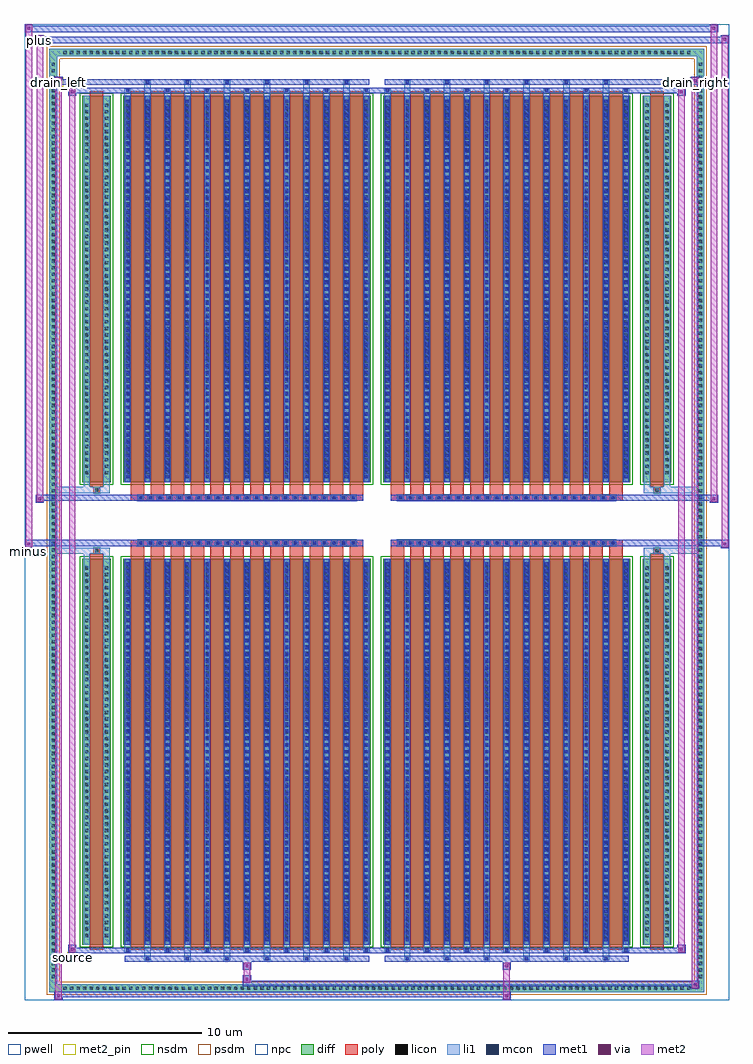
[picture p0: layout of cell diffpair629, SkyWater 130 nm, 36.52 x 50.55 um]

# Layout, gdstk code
import gdstk
lib = gdstk.Library(unit=1e-6, precision=5e-09)
def R(c, l, rs):  # rectangles x0, y0, x1, y1
    for r in rs: c.add(gdstk.rectangle(r[:2], r[2:], *l))
def A(c, l, x, y, w, h, nx, ny, dx, dy):  # array of equal rectangles
    R(c, l, [(x+i*dx, y+j*dy, x+i*dx+w, y+j*dy+h) for i in range(nx) for j in range(ny)])
def P(c, l, *ps):  # polygons
    for p in ps: c.add(gdstk.Polygon(p, *l))
pwell = (64, 44)
diff = (65, 20)
poly = (66, 20)
licon = (66, 44)
li1 = (67, 20)
mcon = (67, 44)
met1 = (68, 20)
via = (68, 44)
met2_pin = (69, 16)
met2 = (69, 20)
nsdm = (93, 44)
psdm = (94, 20)
npc = (95, 20)

diffpair629 = lib.new_cell('diffpair629')
R(diffpair629, pwell, [(-18.24,-24.84,18.24,25.71), (-15.56,-23.03,-0.01,-0.805), (0.01,-23.03,15.56,-0.805), (-15.56,0.805,-0.01,23.03), (0.01,0.805,15.56,23.03)])
A(diffpair629, diff, -16.355, -24.44, 0.41, 0.41, 96, 2, 0.34, 48.47)
A(diffpair629, diff, -16.97, -23.835, 0.41, 0.41, 1, 140, 0, 0.34)
A(diffpair629, diff, 16.56, -23.835, 0.41, 0.41, 1, 140, 0, 0.34)
R(diffpair629, diff, [(-16.355,-24.44,16.355,-24.03), (-16.97,-23.835,-16.56,23.835), (16.56,-23.835,16.97,23.835), (-15.25,-21.985,-13.77,-1.985), (-13.13,-21.985,-0.32,-1.985), (0.32,-21.985,13.13,-1.985), (13.77,-21.985,15.25,-1.985), (-15.25,1.985,-13.77,21.985), (-13.13,1.985,-0.32,21.985), (0.32,1.985,13.13,21.985), (13.77,1.985,15.25,21.985), (-16.355,24.03,16.355,24.44)])
P(diffpair629, diff, [(16.97,24.44),(-16.97,24.44),(-16.97,-24.03),(-16.56,-24.03),(-16.56,24.03),(16.56,24.03),(16.56,-24.03),(-16.56,-24.03),(-16.97,-24.03),(-16.97,-24.44),(16.97,-24.44)])
A(diffpair629, poly, -12.74, -22.235, 0.7, 20.5, 12, 2, 1.03, 23.97)
A(diffpair629, poly, 0.71, -22.235, 0.7, 20.5, 12, 2, 1.03, 23.97)
A(diffpair629, poly, -12.74, -1.735, 0.7, 0.4, 12, 2, 1.03, 3.07)
A(diffpair629, poly, 0.71, -1.735, 0.7, 0.4, 12, 2, 1.03, 3.07)
A(diffpair629, poly, -12.39, -1.335, 0.33, 0.33, 23, 2, 0.5, 2.34)
A(diffpair629, poly, 1.06, -1.335, 0.33, 0.33, 23, 2, 0.5, 2.34)
R(diffpair629, poly, [(-14.86,-22.235,-14.16,-1.735), (14.16,-22.235,14.86,-1.735), (-14.675,-1.735,-14.345,-1.405), (-14.675,-1.735,-14.345,-1.405), (14.345,-1.735,14.675,-1.405), (14.345,-1.735,14.675,-1.405), (-12.74,-1.335,-0.71,-1.005), (0.71,-1.335,12.74,-1.005), (-12.74,1.005,-0.71,1.335), (0.71,1.005,12.74,1.335), (-14.675,1.405,-14.345,1.735), (-14.675,1.405,-14.345,1.735), (14.345,1.405,14.675,1.735), (14.345,1.405,14.675,1.735), (-14.86,1.735,-14.16,22.235), (14.16,1.735,14.86,22.235)])
A(diffpair629, licon, -16.235, -24.32, 0.17, 0.17, 96, 2, 0.34, 48.47)
A(diffpair629, licon, -16.85, -23.715, 0.17, 0.17, 1, 140, 0, 0.34)
A(diffpair629, licon, 16.68, -23.715, 0.17, 0.17, 1, 140, 0, 0.34)
A(diffpair629, licon, -15.11, -21.59, 0.17, 0.17, 1, 57, 0, 0.34)
A(diffpair629, licon, -14.08, -21.59, 0.17, 0.17, 1, 57, 0, 0.34)
A(diffpair629, licon, -12.99, -21.59, 0.17, 0.17, 13, 57, 1.03, 0.34)
A(diffpair629, licon, 0.46, -21.59, 0.17, 0.17, 13, 57, 1.03, 0.34)
A(diffpair629, licon, 13.91, -21.59, 0.17, 0.17, 1, 57, 0, 0.34)
A(diffpair629, licon, 14.94, -21.59, 0.17, 0.17, 1, 57, 0, 0.34)
A(diffpair629, licon, -12.31, -1.255, 0.17, 0.17, 23, 2, 0.5, 2.34)
A(diffpair629, licon, 1.14, -1.255, 0.17, 0.17, 23, 2, 0.5, 2.34)
A(diffpair629, licon, -15.11, 2.38, 0.17, 0.17, 1, 57, 0, 0.34)
A(diffpair629, licon, -14.08, 2.38, 0.17, 0.17, 1, 57, 0, 0.34)
A(diffpair629, licon, -12.99, 2.38, 0.17, 0.17, 13, 57, 1.03, 0.34)
A(diffpair629, licon, 0.46, 2.38, 0.17, 0.17, 13, 57, 1.03, 0.34)
A(diffpair629, licon, 13.91, 2.38, 0.17, 0.17, 1, 57, 0, 0.34)
A(diffpair629, licon, 14.94, 2.38, 0.17, 0.17, 1, 57, 0, 0.34)
R(diffpair629, licon, [(-14.595,-1.655,-14.425,-1.485), (14.425,-1.655,14.595,-1.485), (-14.595,1.485,-14.425,1.655), (14.425,1.485,14.595,1.655)])
A(diffpair629, li1, -16.315, -24.4, 0.33, 0.33, 96, 2, 0.34, 48.47)
A(diffpair629, li1, -16.93, -23.795, 0.33, 0.33, 1, 140, 0, 0.34)
A(diffpair629, li1, 16.6, -23.795, 0.33, 0.33, 1, 140, 0, 0.34)
A(diffpair629, li1, -12.04, -22.79, 0.33, 0.805, 6, 2, 2.06, 44.775)
A(diffpair629, li1, -11.96, -22.79, 0.17, 0.17, 6, 2, 2.06, 45.41)
A(diffpair629, li1, 1.41, -22.79, 0.33, 0.805, 6, 2, 2.06, 44.775)
A(diffpair629, li1, 1.49, -22.79, 0.17, 0.17, 6, 2, 2.06, 45.41)
A(diffpair629, li1, -13.07, -22.36, 0.33, 0.375, 7, 2, 2.06, 44.345)
A(diffpair629, li1, -12.99, -22.36, 0.17, 0.17, 7, 2, 2.06, 44.55)
A(diffpair629, li1, 0.38, -22.36, 0.33, 0.375, 7, 2, 2.06, 44.345)
A(diffpair629, li1, 0.46, -22.36, 0.17, 0.17, 7, 2, 2.06, 44.55)
A(diffpair629, li1, -13.07, -21.985, 0.33, 20, 13, 2, 1.03, 23.97)
A(diffpair629, li1, 0.38, -21.985, 0.33, 20, 13, 2, 1.03, 23.97)
A(diffpair629, li1, -12.99, -21.79, 0.17, 0.17, 13, 55, 1.03, 0.36)
A(diffpair629, li1, -12.99, -21.79, 0.17, 19.61, 13, 2, 1.03, 23.97)
A(diffpair629, li1, 0.46, -21.79, 0.17, 0.17, 13, 55, 1.03, 0.36)
A(diffpair629, li1, 0.46, -21.79, 0.17, 19.61, 13, 2, 1.03, 23.97)
A(diffpair629, li1, -15.19, -21.67, 0.33, 0.33, 1, 57, 0, 0.34)
A(diffpair629, li1, -14.16, -21.67, 0.33, 0.33, 1, 57, 0, 0.34)
A(diffpair629, li1, -13.07, -21.67, 0.33, 0.33, 13, 57, 1.03, 0.34)
A(diffpair629, li1, 0.38, -21.67, 0.33, 0.33, 13, 57, 1.03, 0.34)
A(diffpair629, li1, 13.83, -21.67, 0.33, 0.33, 1, 57, 0, 0.34)
A(diffpair629, li1, 14.86, -21.67, 0.33, 0.33, 1, 57, 0, 0.34)
A(diffpair629, li1, -12.39, -1.335, 0.33, 0.33, 23, 2, 0.5, 2.34)
A(diffpair629, li1, 1.06, -1.335, 0.33, 0.33, 23, 2, 0.5, 2.34)
A(diffpair629, li1, -12.99, 2.18, 0.17, 0.17, 13, 55, 1.03, 0.36)
A(diffpair629, li1, 0.46, 2.18, 0.17, 0.17, 13, 55, 1.03, 0.36)
A(diffpair629, li1, -15.19, 2.3, 0.33, 0.33, 1, 57, 0, 0.34)
A(diffpair629, li1, -14.16, 2.3, 0.33, 0.33, 1, 57, 0, 0.34)
A(diffpair629, li1, -13.07, 2.3, 0.33, 0.33, 13, 57, 1.03, 0.34)
A(diffpair629, li1, 0.38, 2.3, 0.33, 0.33, 13, 57, 1.03, 0.34)
A(diffpair629, li1, 13.83, 2.3, 0.33, 0.33, 1, 57, 0, 0.34)
A(diffpair629, li1, 14.86, 2.3, 0.33, 0.33, 1, 57, 0, 0.34)
R(diffpair629, li1, [(-16.97,-24.44,-16.56,-24.03), (-16.97,-24.44,-16.56,-24.03), (-16.56,-24.44,16.56,-24.03), (16.56,-24.44,16.97,-24.03), (16.56,-24.44,16.97,-24.03), (-16.97,-24.03,-16.56,24.03), (16.56,-24.03,16.97,24.03), (-15.19,-21.985,-14.86,-1.985), (-14.16,-21.985,-13.83,-1.985), (13.83,-21.985,14.16,-1.985), (14.86,-21.985,15.19,-1.985), (-15.19,-1.985,-14.86,-1.405), (-14.16,-1.985,-13.83,-1.405), (13.83,-1.985,14.16,-1.405), (14.86,-1.985,15.19,-1.405), (-16.97,-1.735,-14.675,-1.405), (-15.19,-1.735,-14.675,-1.405), (-14.675,-1.735,-14.345,-1.405), (-14.345,-1.735,-13.83,-1.405), (13.83,-1.735,14.345,-1.405), (14.345,-1.735,14.675,-1.405), (14.345,-1.735,16.97,-1.405), (14.675,-1.735,15.19,-1.405), (-16.97,1.405,-14.675,1.735), (-15.19,1.405,-14.675,1.735), (-15.19,1.405,-14.86,1.985), (-14.675,1.405,-14.345,1.735), (-14.345,1.405,-13.83,1.735), (-14.16,1.405,-13.83,1.985), (13.83,1.405,14.345,1.735), (13.83,1.405,14.16,1.985), (14.345,1.405,14.675,1.735), (14.345,1.405,16.97,1.735), (14.675,1.405,15.19,1.735), (14.86,1.405,15.19,1.985), (-15.19,1.985,-14.86,21.985), (-14.16,1.985,-13.83,21.985), (13.83,1.985,14.16,21.985), (14.86,1.985,15.19,21.985), (-16.97,24.03,-16.56,24.44), (-16.97,24.03,-16.56,24.44), (-16.56,24.03,16.56,24.44), (16.56,24.03,16.97,24.44), (16.56,24.03,16.97,24.44)])
A(diffpair629, mcon, -11.96, -22.79, 0.17, 0.17, 6, 2, 2.06, 45.41)
A(diffpair629, mcon, 1.49, -22.79, 0.17, 0.17, 6, 2, 2.06, 45.41)
A(diffpair629, mcon, -12.99, -22.36, 0.17, 0.17, 7, 2, 2.06, 44.55)
A(diffpair629, mcon, 0.46, -22.36, 0.17, 0.17, 7, 2, 2.06, 44.55)
A(diffpair629, mcon, -12.99, -21.79, 0.17, 0.17, 13, 55, 1.03, 0.36)
A(diffpair629, mcon, 0.46, -21.79, 0.17, 0.17, 13, 55, 1.03, 0.36)
A(diffpair629, mcon, -12.31, -1.255, 0.17, 0.17, 23, 2, 0.5, 2.34)
A(diffpair629, mcon, 1.14, -1.255, 0.17, 0.17, 23, 2, 0.5, 2.34)
A(diffpair629, mcon, -12.99, 2.18, 0.17, 0.17, 13, 55, 1.03, 0.36)
A(diffpair629, mcon, 0.46, 2.18, 0.17, 0.17, 13, 55, 1.03, 0.36)
A(diffpair629, met1, -12.02, -22.85, 0.29, 0.29, 6, 2, 2.06, 45.41)
A(diffpair629, met1, 1.43, -22.85, 0.29, 0.29, 6, 2, 2.06, 45.41)
A(diffpair629, met1, -13.05, -22.42, 0.29, 0.29, 7, 2, 2.06, 44.55)
A(diffpair629, met1, 0.4, -22.42, 0.29, 0.29, 7, 2, 2.06, 44.55)
A(diffpair629, met1, -13.05, -21.985, 0.29, 20, 13, 2, 1.03, 23.97)
A(diffpair629, met1, 0.4, -21.985, 0.29, 20, 13, 2, 1.03, 23.97)
A(diffpair629, met1, -13.05, -21.85, 0.29, 0.29, 13, 55, 1.03, 0.36)
A(diffpair629, met1, 0.4, -21.85, 0.29, 0.29, 13, 55, 1.03, 0.36)
A(diffpair629, met1, -12.37, -1.315, 0.29, 0.29, 23, 2, 0.5, 2.34)
A(diffpair629, met1, 1.08, -1.315, 0.29, 0.29, 23, 2, 0.5, 2.34)
A(diffpair629, met1, -13.05, 2.12, 0.29, 0.29, 13, 55, 1.03, 0.36)
A(diffpair629, met1, 0.4, 2.12, 0.29, 0.29, 13, 55, 1.03, 0.36)
R(diffpair629, met1, [(-16.7,-24.84,-16.27,-24.41), (6.51,-24.84,6.94,-24.41), (-16.7,-24.7,6.94,-24.41), (16.27,-24.27,16.7,-23.84), (-6.94,-24.13,16.7,-23.84), (-6.94,-23.99,-6.51,-23.56), (-6.94,-23.28,-6.51,-22.85), (6.51,-23.28,6.94,-22.85), (-13.05,-22.85,-0.4,-22.56), (0.4,-22.85,13.05,-22.56), (-15.99,-22.42,-15.56,-21.99), (-15.99,-22.42,-13.05,-22.13), (-13.05,-22.42,-0.4,-22.13), (-0.4,-22.42,0.4,-22.13), (0.4,-22.42,13.05,-22.13), (13.05,-22.42,15.99,-22.13), (15.56,-22.42,15.99,-21.99), (-18.24,-1.435,-17.81,-1.005), (17.81,-1.435,18.24,-1.005), (-18.24,-1.335,-0.71,-1.005), (-12.74,-1.335,-0.71,-1.005), (0.71,-1.335,12.74,-1.005), (0.71,-1.335,18.24,-1.005), (-17.67,0.905,-17.24,1.335), (17.24,0.905,17.67,1.335), (-17.67,1.005,-12.74,1.335), (-12.74,1.005,-0.71,1.335), (0.71,1.005,12.74,1.335), (12.74,1.005,17.67,1.335), (-15.99,21.99,-15.56,22.42), (15.56,21.99,15.99,22.42), (-15.99,22.13,-13.05,22.42), (-13.05,22.13,-0.4,22.42), (-0.4,22.13,0.4,22.42), (0.4,22.13,13.05,22.42), (13.05,22.13,15.99,22.42), (-16.7,22.56,-16.27,22.99), (-16.7,22.56,-13.05,22.85), (-13.05,22.56,-0.4,22.85), (0.4,22.56,13.05,22.85), (13.05,22.56,16.7,22.85), (16.27,22.56,16.7,22.99), (-17.67,24.71,-17.24,25.14), (-17.67,24.71,-15.56,25.04), (-15.56,24.71,15.56,25.04), (15.56,24.71,18.24,25.04), (17.81,24.71,18.24,25.14), (-18.24,25.28,-17.81,25.71), (-18.24,25.28,-15.56,25.61), (-15.56,25.28,15.56,25.61), (15.56,25.28,17.67,25.61), (17.24,25.28,17.67,25.71)])
R(diffpair629, via, [(-16.56,-24.7,-16.41,-24.55), (6.65,-24.7,6.8,-24.55), (16.41,-24.13,16.56,-23.98), (-6.8,-23.85,-6.65,-23.7), (-6.8,-23.14,-6.65,-22.99), (6.65,-23.14,6.8,-22.99), (-15.85,-22.28,-15.7,-22.13), (15.7,-22.28,15.85,-22.13), (-18.1,-1.295,-17.95,-1.145), (17.95,-1.295,18.1,-1.145), (-17.53,1.045,-17.38,1.195), (17.38,1.045,17.53,1.195), (-15.85,22.13,-15.7,22.28), (15.7,22.13,15.85,22.28), (-16.56,22.7,-16.41,22.85), (16.41,22.7,16.56,22.85), (-17.53,24.85,-17.38,25), (17.95,24.85,18.1,25), (-18.1,25.42,-17.95,25.57), (17.38,25.42,17.53,25.57)])
R(diffpair629, met2_pin, [(-16.025,-22.87,-15.525,-22.37), (-18.275,-1.885,-17.775,-1.385), (-16.735,22.44,-16.235,22.94), (16.235,22.44,16.735,22.94), (-17.705,24.59,-17.205,25.09)])
R(diffpair629, met2, [(-16.65,-24.79,-16.32,-24.46), (-16.65,-24.79,-16.32,22.94), (6.56,-24.79,6.89,-24.46), (6.56,-24.46,6.89,-23.23), (16.32,-24.22,16.65,-23.89), (16.32,-24.22,16.65,22.94), (-6.89,-23.94,-6.56,-23.61), (-6.89,-23.61,-6.56,-23.23), (-6.89,-23.23,-6.56,-22.9), (6.56,-23.23,6.89,-22.9), (-15.94,-22.37,-15.61,-22.04), (-15.94,-22.37,-15.61,22.37), (15.61,-22.37,15.94,-22.04), (15.61,-22.37,15.94,22.37), (-18.19,-1.385,-17.86,-1.055), (-18.19,-1.385,-17.86,25.66), (17.86,-1.385,18.19,-1.055), (17.86,-1.385,18.19,25.09), (-17.62,0.955,-17.29,1.285), (-17.62,0.955,-17.29,25.09), (17.29,0.955,17.62,1.285), (17.29,0.955,17.62,25.66), (-15.94,22.04,-15.61,22.37), (15.61,22.04,15.94,22.37), (-16.65,22.61,-16.32,22.94), (16.32,22.61,16.65,22.94), (-17.62,24.76,-17.29,25.09), (17.86,24.76,18.19,25.09), (-18.19,25.33,-17.86,25.66), (17.29,25.33,17.62,25.66)])
P(diffpair629, met2, [(18.19,-1.385),(18.19,-1.385),(18.19,-1.055),(18.19,-1.055)],
  [(18.19,24.76),(18.19,24.76),(18.19,25.09),(18.19,25.09)],
  [(-17.86,-1.385),(-17.86,-1.385),(-17.86,-1.055),(-17.86,-1.055)],
  [(-17.86,25.33),(-17.86,25.33),(-17.86,25.66),(-17.86,25.66)],
  [(17.62,0.955),(17.62,0.955),(17.62,1.285),(17.62,1.285)],
  [(17.62,25.33),(17.62,25.33),(17.62,25.66),(17.62,25.66)],
  [(-17.29,0.955),(-17.29,0.955),(-17.29,1.285),(-17.29,1.285)],
  [(-17.29,24.76),(-17.29,24.76),(-17.29,25.09),(-17.29,25.09)],
  [(-16.32,-24.79),(-16.32,-24.79),(-16.32,-24.46),(-16.32,-24.46)],
  [(-16.32,22.61),(-16.32,22.61),(-16.32,22.94),(-16.32,22.94)],
  [(16.65,-24.22),(16.65,-24.22),(16.65,-23.89),(16.65,-23.89)],
  [(16.65,22.61),(16.65,22.61),(16.65,22.94),(16.65,22.94)],
  [(-15.61,-22.37),(-15.61,-22.37),(-15.61,-22.04),(-15.61,-22.04)],
  [(-15.61,22.04),(-15.61,22.04),(-15.61,22.37),(-15.61,22.37)],
  [(15.94,-22.37),(15.94,-22.37),(15.94,-22.04),(15.94,-22.04)],
  [(15.94,22.04),(15.94,22.04),(15.94,22.37),(15.94,22.37)])
R(diffpair629, nsdm, [(-15.38,-22.115,-13.64,-1.855), (-13.26,-22.115,-0.19,-1.855), (0.19,-22.115,13.26,-1.855), (13.64,-22.115,15.38,-1.855), (-15.38,1.855,-13.64,22.115), (-13.26,1.855,-0.19,22.115), (0.19,1.855,13.26,22.115), (13.64,1.855,15.38,22.115)])
P(diffpair629, psdm, [(17.1,24.57),(-17.1,24.57),(-17.1,-23.9),(-16.43,-23.9),(-16.43,23.9),(16.43,23.9),(16.43,-23.9),(-16.43,-23.9),(-17.1,-23.9),(-17.1,-24.57),(17.1,-24.57)])
A(diffpair629, npc, -12.41, -1.355, 0.37, 0.37, 23, 2, 0.5, 2.34)
A(diffpair629, npc, 1.04, -1.355, 0.37, 0.37, 23, 2, 0.5, 2.34)
R(diffpair629, npc, [(-14.695,-1.755,-14.325,-1.385), (14.325,-1.755,14.695,-1.385), (-12.41,-1.355,-11.54,-0.985), (-12.41,-1.355,-11.54,-0.985), (-11.91,-1.355,-11.04,-0.985), (-11.91,-1.355,-11.04,-0.985), (-11.41,-1.355,-10.54,-0.985), (-11.41,-1.355,-10.54,-0.985), (-10.91,-1.355,-10.04,-0.985), (-10.91,-1.355,-10.04,-0.985), (-10.41,-1.355,-9.54,-0.985), (-10.41,-1.355,-9.54,-0.985), (-9.91,-1.355,-9.04,-0.985), (-9.91,-1.355,-9.04,-0.985), (-9.41,-1.355,-8.54,-0.985), (-9.41,-1.355,-8.54,-0.985), (-8.91,-1.355,-8.04,-0.985), (-8.91,-1.355,-8.04,-0.985), (-8.41,-1.355,-7.54,-0.985), (-8.41,-1.355,-7.54,-0.985), (-7.91,-1.355,-7.04,-0.985), (-7.91,-1.355,-7.04,-0.985), (-7.41,-1.355,-6.54,-0.985), (-7.41,-1.355,-6.54,-0.985), (-6.91,-1.355,-6.04,-0.985), (-6.91,-1.355,-6.04,-0.985), (-6.41,-1.355,-5.54,-0.985), (-6.41,-1.355,-5.54,-0.985), (-5.91,-1.355,-5.04,-0.985), (-5.91,-1.355,-5.04,-0.985), (-5.41,-1.355,-4.54,-0.985), (-5.41,-1.355,-4.54,-0.985), (-4.91,-1.355,-4.04,-0.985), (-4.91,-1.355,-4.04,-0.985), (-4.41,-1.355,-3.54,-0.985), (-4.41,-1.355,-3.54,-0.985), (-3.91,-1.355,-3.04,-0.985), (-3.91,-1.355,-3.04,-0.985), (-3.41,-1.355,-2.54,-0.985), (-3.41,-1.355,-2.54,-0.985), (-2.91,-1.355,-2.04,-0.985), (-2.91,-1.355,-2.04,-0.985), (-2.41,-1.355,-1.54,-0.985), (-2.41,-1.355,-1.54,-0.985), (-1.91,-1.355,-1.04,-0.985), (-1.91,-1.355,-1.04,-0.985), (1.04,-1.355,1.91,-0.985), (1.04,-1.355,1.91,-0.985), (1.54,-1.355,2.41,-0.985), (1.54,-1.355,2.41,-0.985), (2.04,-1.355,2.91,-0.985), (2.04,-1.355,2.91,-0.985), (2.54,-1.355,3.41,-0.985), (2.54,-1.355,3.41,-0.985), (3.04,-1.355,3.91,-0.985), (3.04,-1.355,3.91,-0.985), (3.54,-1.355,4.41,-0.985), (3.54,-1.355,4.41,-0.985), (4.04,-1.355,4.91,-0.985), (4.04,-1.355,4.91,-0.985), (4.54,-1.355,5.41,-0.985), (4.54,-1.355,5.41,-0.985), (5.04,-1.355,5.91,-0.985), (5.04,-1.355,5.91,-0.985), (5.54,-1.355,6.41,-0.985), (5.54,-1.355,6.41,-0.985), (6.04,-1.355,6.91,-0.985), (6.04,-1.355,6.91,-0.985), (6.54,-1.355,7.41,-0.985), (6.54,-1.355,7.41,-0.985), (7.04,-1.355,7.91,-0.985), (7.04,-1.355,7.91,-0.985), (7.54,-1.355,8.41,-0.985), (7.54,-1.355,8.41,-0.985), (8.04,-1.355,8.91,-0.985), (8.04,-1.355,8.91,-0.985), (8.54,-1.355,9.41,-0.985), (8.54,-1.355,9.41,-0.985), (9.04,-1.355,9.91,-0.985), (9.04,-1.355,9.91,-0.985), (9.54,-1.355,10.41,-0.985), (9.54,-1.355,10.41,-0.985), (10.04,-1.355,10.91,-0.985), (10.04,-1.355,10.91,-0.985), (10.54,-1.355,11.41,-0.985), (10.54,-1.355,11.41,-0.985), (11.04,-1.355,11.91,-0.985), (11.04,-1.355,11.91,-0.985), (11.54,-1.355,12.41,-0.985), (11.54,-1.355,12.41,-0.985), (-12.41,0.985,-11.54,1.355), (-12.41,0.985,-11.54,1.355), (-11.91,0.985,-11.04,1.355), (-11.91,0.985,-11.04,1.355), (-11.41,0.985,-10.54,1.355), (-11.41,0.985,-10.54,1.355), (-10.91,0.985,-10.04,1.355), (-10.91,0.985,-10.04,1.355), (-10.41,0.985,-9.54,1.355), (-10.41,0.985,-9.54,1.355), (-9.91,0.985,-9.04,1.355), (-9.91,0.985,-9.04,1.355), (-9.41,0.985,-8.54,1.355), (-9.41,0.985,-8.54,1.355), (-8.91,0.985,-8.04,1.355), (-8.91,0.985,-8.04,1.355), (-8.41,0.985,-7.54,1.355), (-8.41,0.985,-7.54,1.355), (-7.91,0.985,-7.04,1.355), (-7.91,0.985,-7.04,1.355), (-7.41,0.985,-6.54,1.355), (-7.41,0.985,-6.54,1.355), (-6.91,0.985,-6.04,1.355), (-6.91,0.985,-6.04,1.355), (-6.41,0.985,-5.54,1.355), (-6.41,0.985,-5.54,1.355), (-5.91,0.985,-5.04,1.355), (-5.91,0.985,-5.04,1.355), (-5.41,0.985,-4.54,1.355), (-5.41,0.985,-4.54,1.355), (-4.91,0.985,-4.04,1.355), (-4.91,0.985,-4.04,1.355), (-4.41,0.985,-3.54,1.355), (-4.41,0.985,-3.54,1.355), (-3.91,0.985,-3.04,1.355), (-3.91,0.985,-3.04,1.355), (-3.41,0.985,-2.54,1.355), (-3.41,0.985,-2.54,1.355), (-2.91,0.985,-2.04,1.355), (-2.91,0.985,-2.04,1.355), (-2.41,0.985,-1.54,1.355), (-2.41,0.985,-1.54,1.355), (-1.91,0.985,-1.04,1.355), (-1.91,0.985,-1.04,1.355), (1.04,0.985,1.91,1.355), (1.04,0.985,1.91,1.355), (1.54,0.985,2.41,1.355), (1.54,0.985,2.41,1.355), (2.04,0.985,2.91,1.355), (2.04,0.985,2.91,1.355), (2.54,0.985,3.41,1.355), (2.54,0.985,3.41,1.355), (3.04,0.985,3.91,1.355), (3.04,0.985,3.91,1.355), (3.54,0.985,4.41,1.355), (3.54,0.985,4.41,1.355), (4.04,0.985,4.91,1.355), (4.04,0.985,4.91,1.355), (4.54,0.985,5.41,1.355), (4.54,0.985,5.41,1.355), (5.04,0.985,5.91,1.355), (5.04,0.985,5.91,1.355), (5.54,0.985,6.41,1.355), (5.54,0.985,6.41,1.355), (6.04,0.985,6.91,1.355), (6.04,0.985,6.91,1.355), (6.54,0.985,7.41,1.355), (6.54,0.985,7.41,1.355), (7.04,0.985,7.91,1.355), (7.04,0.985,7.91,1.355), (7.54,0.985,8.41,1.355), (7.54,0.985,8.41,1.355), (8.04,0.985,8.91,1.355), (8.04,0.985,8.91,1.355), (8.54,0.985,9.41,1.355), (8.54,0.985,9.41,1.355), (9.04,0.985,9.91,1.355), (9.04,0.985,9.91,1.355), (9.54,0.985,10.41,1.355), (9.54,0.985,10.41,1.355), (10.04,0.985,10.91,1.355), (10.04,0.985,10.91,1.355), (10.54,0.985,11.41,1.355), (10.54,0.985,11.41,1.355), (11.04,0.985,11.91,1.355), (11.04,0.985,11.91,1.355), (11.54,0.985,12.41,1.355), (11.54,0.985,12.41,1.355), (-14.695,1.385,-14.325,1.755), (14.325,1.385,14.695,1.755)])
diffpair629.add(gdstk.Label('minus', (-18.025,-1.635), layer=69, texttype=5))
diffpair629.add(gdstk.Label('drain_right', (16.485,22.69), layer=69, texttype=5))
diffpair629.add(gdstk.Label('drain_left', (-16.485,22.69), layer=69, texttype=5))
diffpair629.add(gdstk.Label('source', (-15.775,-22.62), layer=69, texttype=5))
diffpair629.add(gdstk.Label('plus', (-17.455,24.84), layer=69, texttype=5))

lib.write_gds('diffpair629.gds')
